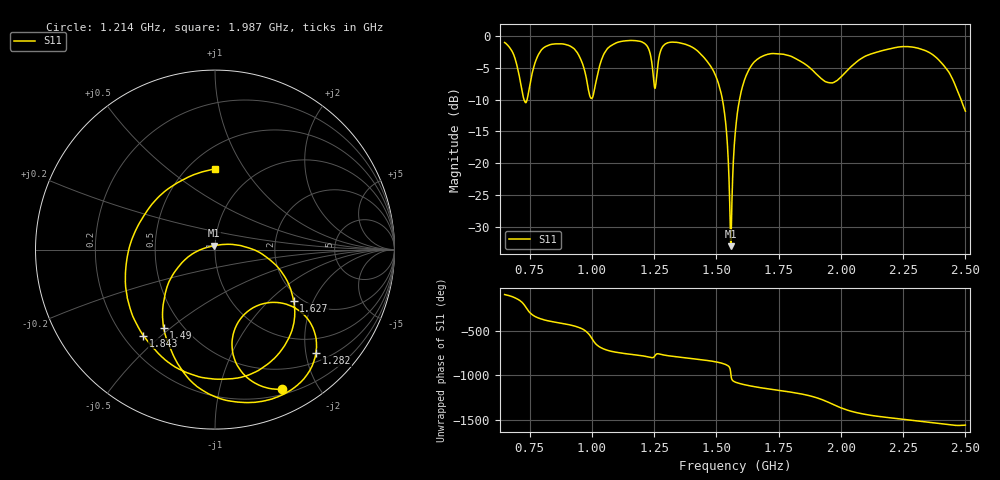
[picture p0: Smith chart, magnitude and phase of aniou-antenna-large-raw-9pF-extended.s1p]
!Keysight Technologies,P9371A,MY57212015,Z.15.41.75
!Date: Tuesday, May 10, 2022 10:07:07
!Correction: S11(C  1-Port  )
!S1P File: Measurement: S11:
# Hz S  dB  R 50
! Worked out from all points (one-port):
!   2601 points, 650 MHz to 2.5 GHz, reference 50 ohm
!   lowest |S11| = -33.0 dB at 1.558 GHz (marker M1), VSWR 1.05, Z = 49.3 + j2.13 ohm
!   |S11| at or under -10 dB: 727.7 MHz to 740.3 MHz (12.54 MHz wide, 1.71 % of centre); 1.525 GHz to 1.593 GHz (68.65 MHz wide, 4.4 % of centre); 2.482 GHz to end of sweep
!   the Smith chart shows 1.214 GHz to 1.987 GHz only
!   S11 on the Smith chart (normalised r, x): 1.214 GHz: 0.25, -1.56; 1.282 GHz: 0.67, -2.20; 1.49 GHz: 0.39, -0.47; 1.627 GHz: 1.83, -1.44; 1.843 GHz: 0.28, -0.44; 1.987 GHz: 0.66, +0.75
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6.5e8  -1.05 -89.1
7.076346e8  -6.07 -149.8
7.524615e8  -7.47 64.3
7.994231e8  -2.13 -6.9
8.8125e8  -1.26 -54.1
9.395962e8  -2.51 -91.6
9.822885e8  -7.56 -157.6
1.023558e9  -5.97 56.2
1.059846e9  -2.16 5.8
1.1125e9  -0.92 -25.9
1.21425e9  -1.26 -64.3
1.244846e9  -5.49 -79.7
1.281846e9  -1.87 -45.8
1.34375e9  -1.04 -71.7
1.490327e9  -5.65 -123.2
1.531596e9  -11.75 -150.9
1.557923e9  -32.98 105.9
1.575e9  -15.65 5.8
1.626942e9  -5.63 -33.1
1.80625e9  -3.32 -111.6
1.84325e9  -4.11 -129.8
1.917962e9  -6.59 174.0
1.986981e9  -6.95 89.9
2.0375e9  -4.98 39.4
2.127865e9  -2.76 -12.8
2.26875e9  -1.70 -60.4
2.404654e9  -4.28 -106.3
2.5e9  -11.82 -119.1
